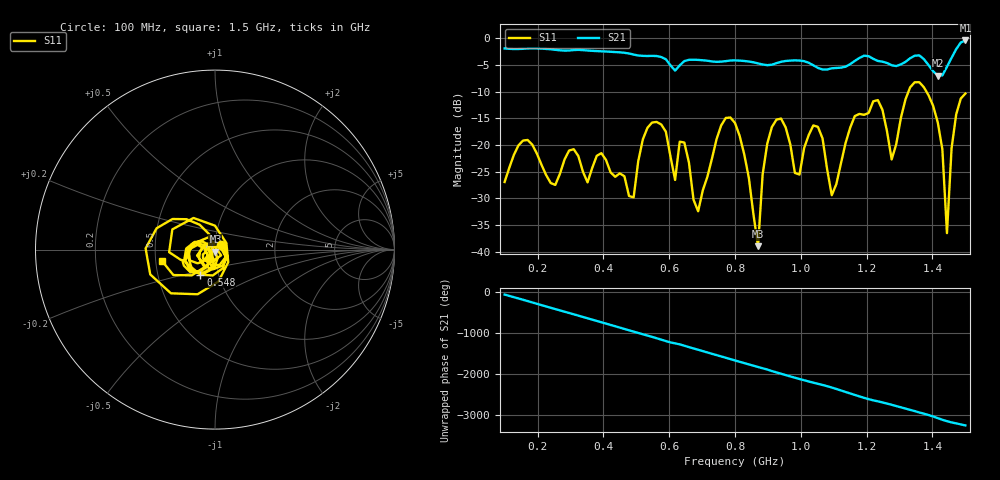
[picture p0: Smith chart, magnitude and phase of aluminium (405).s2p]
! NanoVNA-App
! Date: 2025-09-25 14:58:26
! Start: 100MHz Stop: 1,5GHz Points: 101
! S-Parameter data: F S11 S21 S12 S22
# Hz S RI R 50
!  Frequency  S11_Real  S11_Imag  S21_Real  S21_Imag  S12_Real  S12_Imag  S22_Real  S22_Imag
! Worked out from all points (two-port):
!   101 points, 100 MHz to 1.5 GHz, reference 50 ohm
!   highest |S21| = -0.42 dB at 1.5 GHz (marker M1); lowest = -7.0 dB at 1.416 GHz (marker M2)
!   |S21| within 3 dB of the highest: start of sweep to 567.7 MHz; 1.46 GHz to end of sweep (the widest 2 of 4)
!   lowest |S11| = -39.0 dB at 870 MHz (marker M3), VSWR 1.02, Z = 50.3 - j1.1 ohm
!   |S11| at or under -10 dB: start of sweep to 1.327 GHz; 1.381 GHz to end of sweep
!   S12 and S22 are empty: the file has one direction only
!   S11 on the Smith chart (normalised r, x): 100 MHz: 1.07, +0.06; 548 MHz: 0.82, -0.24; 1.5 GHz: 0.54, -0.07
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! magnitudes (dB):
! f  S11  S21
! 100 MHz  -27.0  -1.9
! 156 MHz  -19.2  -2.0
! 338 MHz  -25.0  -2.2
! 492 MHz  -29.9  -3.1
! 548 MHz  -15.8  -3.3
! 576 MHz  -16.2  -3.5
! 618 MHz  -26.6  -6.1
! 646 MHz  -19.6  -4.3
! 688 MHz  -32.4  -4.1
! 800 MHz  -15.9  -4.2
! 870 MHz  -39.0  -4.7
! 912 MHz  -16.7  -5.0
! 996 MHz  -25.6  -4.2
! 1.038 GHz  -16.4  -5.1
! 1.094 GHz  -29.4  -5.6
! 1.22 GHz  -11.8  -3.9
! 1.276 GHz  -22.7  -5.1
! 1.346 GHz  -8.3  -3.3
! 1.416 GHz  -15.8  -7.0
! 1.444 GHz  -36.5  -5.4
! 1.458 GHz  -20.6  -3.7
! 1.5 GHz  -10.4  -0.4
